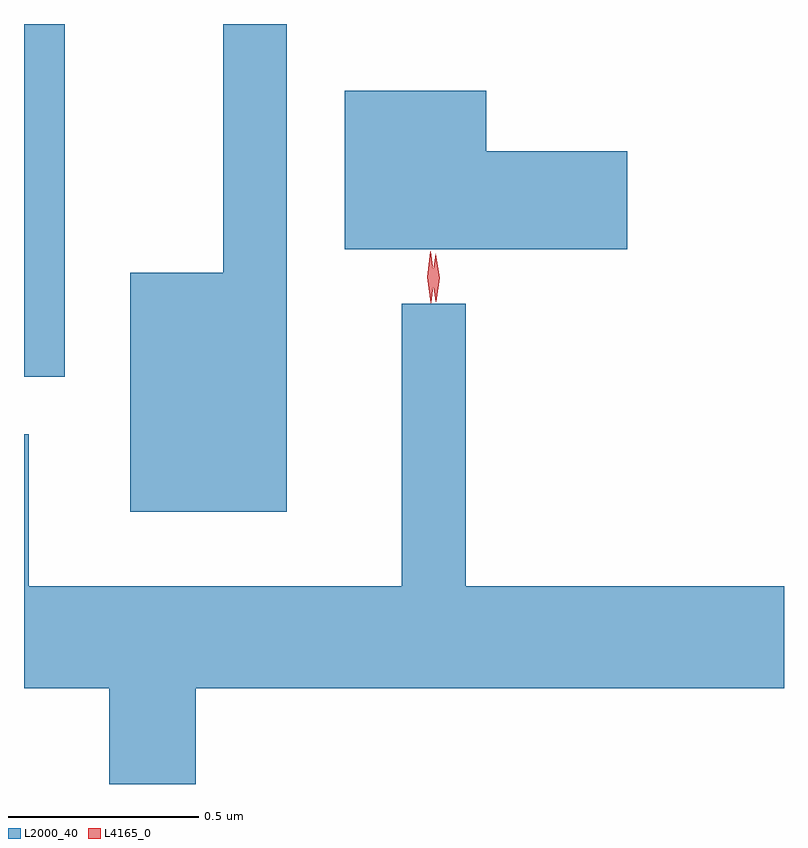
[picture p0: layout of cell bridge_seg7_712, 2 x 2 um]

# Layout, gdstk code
import gdstk
lib = gdstk.Library(unit=1e-6, precision=1e-09)
def R(c, l, rs):  # rectangles x0, y0, x1, y1
    for r in rs: c.add(gdstk.rectangle(r[:2], r[2:], *l))
def P(c, l, *ps):  # polygons
    for p in ps: c.add(gdstk.Polygon(p, *l))
L2000_40 = (2000, 40)
L4165_0 = (4165, 0)

bridge_seg7_712 = lib.new_cell('bridge_seg7_712')
R(bridge_seg7_712, L2000_40, [(965.007,1679.616,965.114,1680.544)])
P(bridge_seg7_712, L2000_40, [(965.699,1680.544),(965.531,1680.544),(965.531,1679.889),(965.286,1679.889),(965.286,1679.261),(965.699,1679.261)],
  [(966.594,1680.209),(966.224,1680.209),(966.224,1680.369),(965.851,1680.369),(965.851,1679.951),(966.594,1679.951)],
  [(965.459,1678.796),(967.007,1678.796),(967.007,1679.064),(966.169,1679.064),(966.169,1679.808),(966.001,1679.808),(966.001,1679.064),(965.019,1679.064),(965.019,1679.464),(965.007,1679.464),(965.007,1678.796),(965.231,1678.796),(965.231,1678.544),(965.459,1678.544)])
P(bridge_seg7_712, L4165_0, [(966.078,1679.809),(966.078,1679.81),(966.068,1679.877),(966.076,1679.945),(966.077,1679.946),(966.077,1679.945),(966.087,1679.878),(966.079,1679.81)],
  [(966.091,1679.813),(966.091,1679.813),(966.081,1679.876),(966.09,1679.939),(966.091,1679.94),(966.091,1679.939),(966.101,1679.876),(966.092,1679.813)])

lib.write_gds('bridge_seg7_712.gds')
